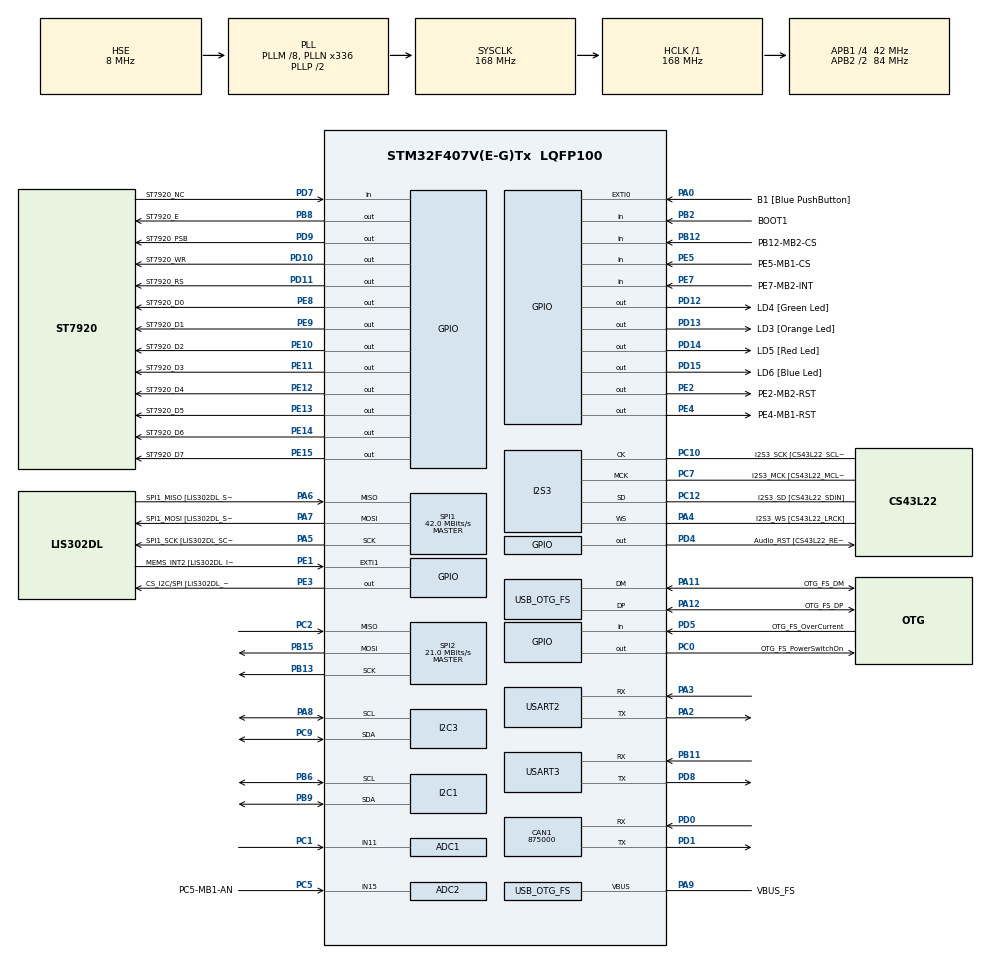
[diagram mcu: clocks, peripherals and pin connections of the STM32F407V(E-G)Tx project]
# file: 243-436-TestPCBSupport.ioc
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ADC1.Channel-0\#ChannelRegularConversion=ADC_CHANNEL_11
ADC1.NbrOfConversionFlag=1
ADC1.Rank-0\#ChannelRegularConversion=1
ADC1.SamplingTime-0\#ChannelRegularConversion=ADC_SAMPLETIME_3CYCLES
ADC1.master=1
ADC2.Channel-0\#ChannelRegularConversion=ADC_CHANNEL_15
ADC2.NbrOfConversionFlag=1
ADC2.Rank-0\#ChannelRegularConversion=1
ADC2.SamplingTime-0\#ChannelRegularConversion=ADC_SAMPLETIME_3CYCLES
CAN1.CalculateBaudRate=875000
CAN1.CalculateTimeBit=1142
CAN1.CalculateTimeQuantum=380.95238095238096
I2S3.AudioFreq-Half_Duplex_Master=I2S_AUDIOFREQ_96K
I2S3.ErrorAudioFreq=-2.34 %
I2S3.ErrorAudioFreq-Half_Duplex_Master=0.8 %
I2S3.FullDuplexMode=I2S_FULLDUPLEXMODE_DISABLE
I2S3.Instance=SPI$Index
I2S3.RealAudioFreq=93.75 KHz
I2S3.RealAudioFreq-Half_Duplex_Master=96.774 KHz
I2S3.VirtualMode=I2S_MODE_MASTER
Mcu.Family=STM32F4
Mcu.Name=STM32F407V(E-G)Tx
Mcu.Package=LQFP100
NVIC.OTG_FS_IRQn=true\:0\:0\:false\:false\:true\:true\:true\:true
NVIC.PriorityGroup=NVIC_PRIORITYGROUP_0
PA0-WKUP.GPIO_Label=B1 [Blue PushButton]
PA0-WKUP.GPIO_ModeDefaultEXTI=GPIO_MODE_EVT_RISING
PA0-WKUP.GPIO_PuPd=GPIO_NOPULL
PA0-WKUP.Signal=GPXTI0
PA1.Signal=S_TIM2_CH2
PA10.GPIO_Label=OTG_FS_ID
PA10.GPIO_Mode=GPIO_MODE_AF_PP
PA10.GPIO_PuPd=GPIO_NOPULL
PA10.GPIO_Speed=GPIO_SPEED_FREQ_LOW
PA10.Signal=USB_OTG_FS_ID
PA11.GPIO_Label=OTG_FS_DM
PA11.GPIO_Mode=GPIO_MODE_AF_PP
PA11.GPIO_PuPd=GPIO_NOPULL
PA11.GPIO_Speed=GPIO_SPEED_FREQ_LOW
PA11.Mode=Host_Only
PA11.Signal=USB_OTG_FS_DM
PA12.GPIO_Label=OTG_FS_DP
PA12.GPIO_Mode=GPIO_MODE_AF_PP
PA12.GPIO_PuPd=GPIO_NOPULL
PA12.GPIO_Speed=GPIO_SPEED_FREQ_LOW
PA12.Mode=Host_Only
PA12.Signal=USB_OTG_FS_DP
PA13.GPIO_Label=SWDIO
PA13.Mode=Serial_Wire
PA13.Signal=SYS_JTMS-SWDIO
PA14.GPIO_Label=SWCLK
PA14.Mode=Serial_Wire
PA14.Signal=SYS_JTCK-SWCLK
PA2.Mode=Asynchronous
PA2.Signal=USART2_TX
PA3.Mode=Asynchronous
PA3.Signal=USART2_RX
PA4.GPIO_Label=I2S3_WS [CS43L22_LRCK]
PA4.GPIO_Mode=GPIO_MODE_AF_PP
PA4.GPIO_PuPd=GPIO_NOPULL
PA4.GPIO_Speed=GPIO_SPEED_FREQ_LOW
PA4.Mode=Half_Duplex_Master
PA4.Signal=I2S3_WS
PA5.GPIO_Label=SPI1_SCK [LIS302DL_SCL/SPC]
PA5.GPIO_Mode=GPIO_MODE_AF_PP
PA5.GPIO_PuPd=GPIO_NOPULL
PA5.GPIO_Speed=GPIO_SPEED_FREQ_LOW
PA5.Mode=Full_Duplex_Master
PA5.Signal=SPI1_SCK
PA6.GPIO_Label=SPI1_MISO [LIS302DL_SDO]
PA6.GPIO_Mode=GPIO_MODE_AF_PP
PA6.GPIO_PuPd=GPIO_NOPULL
PA6.GPIO_Speed=GPIO_SPEED_FREQ_LOW
PA6.Mode=Full_Duplex_Master
PA6.Signal=SPI1_MISO
PA7.GPIO_Label=SPI1_MOSI [LIS302DL_SDA/SDI/SDO]
PA7.GPIO_Mode=GPIO_MODE_AF_PP
PA7.GPIO_PuPd=GPIO_NOPULL
PA7.GPIO_Speed=GPIO_SPEED_FREQ_LOW
PA7.Mode=Full_Duplex_Master
PA7.Signal=SPI1_MOSI
PA8.Mode=I2C
PA8.Signal=I2C3_SCL
PA9.GPIO_Label=VBUS_FS
PA9.GPIO_Mode=GPIO_MODE_INPUT
PA9.GPIO_PuPd=GPIO_NOPULL
PA9.Mode=Activate_VBUS
PA9.Signal=USB_OTG_FS_VBUS
PB10.GPIO_Label=CLK_IN [MP45DT02_CLK]
PB10.GPIO_Mode=GPIO_MODE_AF_PP
PB10.GPIO_PuPd=GPIO_NOPULL
PB10.GPIO_Speed=GPIO_SPEED_FREQ_LOW
PB10.Signal=I2S2_CK
PB11.Mode=Asynchronous
PB11.Signal=USART3_RX
PB12.GPIO_Label=PB12-MB2-CS
PB12.Signal=GPIO_Input
PB13.Mode=Full_Duplex_Master
PB13.Signal=SPI2_SCK
PB15.Mode=Full_Duplex_Master
PB15.Signal=SPI2_MOSI
PB2.GPIO_Label=BOOT1
PB2.GPIO_Mode=GPIO_MODE_INPUT
PB2.GPIO_PuPd=GPIO_NOPULL
PB2.Signal=GPIO_Input
PB3.GPIO_Label=SWO
PB3.Signal=SYS_JTDO-SWO
PB6.Mode=I2C
PB6.Signal=I2C1_SCL
PB8.GPIO_Label=ST7920_E
PB8.GPIO_Speed=GPIO_SPEED_FREQ_HIGH
PB8.Signal=GPIO_Output
PB9.Mode=I2C
PB9.Signal=I2C1_SDA
PC0.GPIO_Label=OTG_FS_PowerSwitchOn
PC0.GPIO_PuPd=GPIO_NOPULL
PC0.GPIO_Speed=GPIO_SPEED_FREQ_LOW
PC0.PinState=GPIO_PIN_SET
PC0.Signal=GPIO_Output
PC1.Signal=ADCx_IN11
PC10.GPIO_Label=I2S3_SCK [CS43L22_SCLK]
PC10.GPIO_Mode=GPIO_MODE_AF_PP
PC10.GPIO_PuPd=GPIO_NOPULL
PC10.GPIO_Speed=GPIO_SPEED_FREQ_LOW
PC10.Mode=Half_Duplex_Master
PC10.Signal=I2S3_CK
PC12.GPIO_Label=I2S3_SD [CS43L22_SDIN]
PC12.GPIO_Mode=GPIO_MODE_AF_PP
PC12.GPIO_PuPd=GPIO_NOPULL
PC12.GPIO_Speed=GPIO_SPEED_FREQ_LOW
PC12.Mode=Half_Duplex_Master
PC12.Signal=I2S3_SD
PC14-OSC32_IN.GPIO_Label=PC14-OSC32_IN
PC14-OSC32_IN.Mode=LSE-External-Oscillator
PC14-OSC32_IN.Signal=RCC_OSC32_IN
PC15-OSC32_OUT.GPIO_Label=PC15-OSC32_OUT
PC15-OSC32_OUT.Mode=LSE-External-Oscillator
PC15-OSC32_OUT.Signal=RCC_OSC32_OUT
PC2.Mode=Full_Duplex_Master
PC2.Signal=SPI2_MISO
PC3.GPIO_Label=PDM_OUT [MP45DT02_DOUT]
PC3.GPIO_Mode=GPIO_MODE_AF_PP
PC3.GPIO_PuPd=GPIO_NOPULL
PC3.GPIO_Speed=GPIO_SPEED_FREQ_LOW
PC3.Signal=I2S2_SD
PC5.GPIO_Label=PC5-MB1-AN
PC5.Signal=ADCx_IN15
PC7.GPIO_Label=I2S3_MCK [CS43L22_MCLK]
PC7.GPIO_Mode=GPIO_MODE_AF_PP
PC7.GPIO_PuPd=GPIO_NOPULL
PC7.GPIO_Speed=GPIO_SPEED_FREQ_LOW
PC7.Mode=Master_Clock_Activated
PC7.Signal=I2S3_MCK
PC9.Mode=I2C
PC9.Signal=I2C3_SDA
PD0.Mode=CAN_Activate
PD0.Signal=CAN1_RX
PD1.Mode=CAN_Activate
PD1.Signal=CAN1_TX
PD10.GPIO_Label=ST7920_WR
PD10.GPIO_Speed=GPIO_SPEED_FREQ_HIGH
PD10.PinState=GPIO_PIN_SET
PD10.Signal=GPIO_Output
PD11.GPIO_Label=ST7920_RS
PD11.GPIO_Speed=GPIO_SPEED_FREQ_HIGH
PD11.Signal=GPIO_Output
PD12.GPIO_Label=LD4 [Green Led]
PD12.GPIO_PuPd=GPIO_NOPULL
PD12.GPIO_Speed=GPIO_SPEED_FREQ_LOW
PD12.Signal=GPIO_Output
PD13.GPIO_Label=LD3 [Orange Led]
PD13.GPIO_PuPd=GPIO_NOPULL
PD13.GPIO_Speed=GPIO_SPEED_FREQ_LOW
PD13.Signal=GPIO_Output
PD14.GPIO_Label=LD5 [Red Led]
PD14.GPIO_PuPd=GPIO_NOPULL
PD14.GPIO_Speed=GPIO_SPEED_FREQ_LOW
PD14.Signal=GPIO_Output
PD15.GPIO_Label=LD6 [Blue Led]
PD15.GPIO_PuPd=GPIO_NOPULL
PD15.GPIO_Speed=GPIO_SPEED_FREQ_LOW
PD15.Signal=GPIO_Output
PD4.GPIO_Label=Audio_RST [CS43L22_RESET]
PD4.GPIO_PuPd=GPIO_NOPULL
PD4.GPIO_Speed=GPIO_SPEED_FREQ_LOW
PD4.Signal=GPIO_Output
PD5.GPIO_Label=OTG_FS_OverCurrent
PD5.GPIO_Mode=GPIO_MODE_INPUT
PD5.GPIO_PuPd=GPIO_NOPULL
PD5.Signal=GPIO_Input
PD7.GPIO_Label=ST7920_NC
PD7.Signal=GPIO_Input
PD8.Mode=Asynchronous
PD8.Signal=USART3_TX
PD9.GPIO_Label=ST7920_PSB
PD9.GPIO_Speed=GPIO_SPEED_FREQ_HIGH
PD9.PinState=GPIO_PIN_SET
PD9.Signal=GPIO_Output
PE1.GPIO_Label=MEMS_INT2 [LIS302DL_INT2]
PE1.GPIO_ModeDefaultEXTI=GPIO_MODE_EVT_RISING
PE1.GPIO_PuPd=GPIO_NOPULL
PE1.Signal=GPXTI1
PE10.GPIO_Label=ST7920_D2
PE10.GPIO_Speed=GPIO_SPEED_FREQ_HIGH
PE10.Signal=GPIO_Output
PE11.GPIO_Label=ST7920_D3
PE11.GPIO_Speed=GPIO_SPEED_FREQ_HIGH
PE11.Signal=GPIO_Output
PE12.GPIO_Label=ST7920_D4
PE12.GPIO_Speed=GPIO_SPEED_FREQ_HIGH
PE12.Signal=GPIO_Output
PE13.GPIO_Label=ST7920_D5
PE13.GPIO_Speed=GPIO_SPEED_FREQ_HIGH
PE13.Signal=GPIO_Output
PE14.GPIO_Label=ST7920_D6
PE14.GPIO_Speed=GPIO_SPEED_FREQ_HIGH
PE14.Signal=GPIO_Output
PE15.GPIO_Label=ST7920_D7
PE15.GPIO_Speed=GPIO_SPEED_FREQ_HIGH
PE15.Signal=GPIO_Output
PE2.GPIO_Label=PE2-MB2-RST
PE2.Signal=GPIO_Output
PE3.GPIO_Label=CS_I2C/SPI [LIS302DL_CS_I2C/SPI]
PE3.GPIO_PuPd=GPIO_NOPULL
PE3.GPIO_Speed=GPIO_SPEED_FREQ_LOW
PE3.Signal=GPIO_Output
PE4.GPIO_Label=PE4-MB1-RST
PE4.Signal=GPIO_Output
PE5.GPIO_Label=PE5-MB1-CS
PE5.Signal=GPIO_Input
PE7.GPIO_Label=PE7-MB2-INT
PE7.Signal=GPIO_Input
PE8.GPIO_Label=ST7920_D0
PE8.GPIO_Speed=GPIO_SPEED_FREQ_HIGH
PE8.Signal=GPIO_Output
PE9.GPIO_Label=ST7920_D1
PE9.GPIO_Speed=GPIO_SPEED_FREQ_HIGH
PE9.Signal=GPIO_Output
PH0-OSC_IN.GPIO_Label=PH0-OSC_IN
PH0-OSC_IN.Mode=HSE-External-Oscillator
PH0-OSC_IN.Signal=RCC_OSC_IN
PH1-OSC_OUT.GPIO_Label=PH1-OSC_OUT
PH1-OSC_OUT.Mode=HSE-External-Oscillator
PH1-OSC_OUT.Signal=RCC_OSC_OUT
ProjectManager.HeapSize=0x200
ProjectManager.StackSize=0x400
ProjectManager.TargetToolchain=CMake
RCC.48MHZClocksFreq_Value=48000000
RCC.AHBFreq_Value=168000000
RCC.APB1CLKDivider=RCC_HCLK_DIV4
RCC.APB1Freq_Value=42000000
RCC.APB1TimFreq_Value=84000000
RCC.APB2CLKDivider=RCC_HCLK_DIV2
RCC.APB2Freq_Value=84000000
RCC.APB2TimFreq_Value=168000000
RCC.CortexFreq_Value=168000000
RCC.HCLKFreq_Value=168000000
RCC.HSE_VALUE=8000000
RCC.HSI_VALUE=16000000
RCC.PLLM=8
RCC.PLLN=336
RCC.PLLQ=7
RCC.SYSCLKFreq_VALUE=168000000
RCC.SYSCLKSource=RCC_SYSCLKSOURCE_PLLCLK
RCC.VCOOutputFreq_Value=336000000
SH.ADCx_IN11.0=ADC1_IN11,IN11
SH.ADCx_IN15.0=ADC2_IN15,IN15
SH.S_TIM2_CH2.0=TIM2_CH2
SPI1.CalculateBaudRate=42.0 MBits/s
SPI1.Direction=SPI_DIRECTION_2LINES
SPI1.Mode=SPI_MODE_MASTER
SPI1.VirtualType=VM_MASTER
SPI2.CalculateBaudRate=21.0 MBits/s
SPI2.Direction=SPI_DIRECTION_2LINES
SPI2.Mode=SPI_MODE_MASTER
SPI2.VirtualType=VM_MASTER
USART2.VirtualMode=VM_ASYNC
USART3.VirtualMode=VM_ASYNC
USB_HOST.BSP.number=1
USB_HOST.USBH_HandleTypeDef-CDC_FS=hUsbHostFS
USB_HOST.VirtualModeFS=Cdc
USB_HOST0.BSP.STBoard=false
USB_HOST0.BSP.api=Unknown
USB_HOST0.BSP.instance=PC0
USB_HOST0.BSP.ip=GPIO
USB_HOST0.BSP.mode=Output
USB_HOST0.BSP.name=Drive_VBUS_FS
USB_HOST0.BSP.solution=PC0
USB_OTG_FS.VirtualMode=Host_Only
USB_OTG_FS.phy_itface=HCD_PHY_EMBEDDED
VP_USB_HOST_VS_USB_HOST_CDC_FS.Mode=CDC_FS
board=STM32F407G-DISC1

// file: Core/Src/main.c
/* USER CODE BEGIN Header */
/**
  ******************************************************************************
  * @file           : main.c
  * @brief          : Main program body
  ******************************************************************************
  * @attention
  *
  * Copyright (c) 2026 STMicroelectronics.
  * All rights reserved.
  *
  * This software is licensed under terms that can be found in the LICENSE file
  * in the root directory of this software component.
  * If no LICENSE file comes with this software, it is provided AS-IS.
  *
  ******************************************************************************
  */
/* USER CODE END Header */
#include "main.h"
#include "usb_host.h"

/* USER CODE BEGIN Includes */
#include <stdio.h>
#include <stdarg.h>
#include "drv82xx.h"
#include "st7920.h"

/* USER CODE END Includes */

ADC_HandleTypeDef hadc1;
ADC_HandleTypeDef hadc2;

CAN_HandleTypeDef hcan1;

I2C_HandleTypeDef hi2c1;
I2C_HandleTypeDef hi2c3;

I2S_HandleTypeDef hi2s3;

SPI_HandleTypeDef hspi1;
SPI_HandleTypeDef hspi2;

UART_HandleTypeDef huart2;
UART_HandleTypeDef huart3;

void SystemClock_Config(void);
static void MX_GPIO_Init(void);
static void MX_I2S3_Init(void);
static void MX_SPI1_Init(void);
static void MX_ADC1_Init(void);
static void MX_ADC2_Init(void);
static void MX_CAN1_Init(void);
static void MX_I2C1_Init(void);
static void MX_I2C3_Init(void);
static void MX_SPI2_Init(void);
static void MX_USART2_UART_Init(void);
static void MX_USART3_UART_Init(void);
void MX_USB_HOST_Process(void);

/* USER CODE BEGIN PFP */
static void I2C_ScanBus(int bus_number);
static int uart2_printf(const char *fmt, ...);

/* USER CODE END PFP */

int main(void)
{

  /* MCU Configuration--------------------------------------------------------*/

  /* Reset of all peripherals, Initializes the Flash interface and the Systick. */
  HAL_Init();

  /* Configure the system clock */
  SystemClock_Config();

  /* Initialize all configured peripherals */
  MX_GPIO_Init();
  MX_I2S3_Init();
  MX_SPI1_Init();
  MX_USB_HOST_Init();
  MX_ADC1_Init();
  MX_ADC2_Init();
  MX_CAN1_Init();
  MX_I2C1_Init();
  MX_I2C3_Init();
  MX_SPI2_Init();
  MX_USART2_UART_Init();
  MX_USART3_UART_Init();
  /* USER CODE BEGIN 2 */

  // Scan I2C bus for devices
  HAL_GPIO_WritePin(GPIOE, PE2_MB2_RST_Pin, GPIO_PIN_SET);
  I2C_ScanBus(1);

  HAL_GPIO_WritePin(GPIOE, PE4_MB1_RST_Pin, GPIO_PIN_SET);
  I2C_ScanBus(3);

  /* Example: drv82xx devices on each bus - replace addresses with actual ones */
  drv82xx_t drv1_bus1 = { .hi2c = &hi2c1, .address = 0x33 };
  drv82xx_t drv2_bus1 = { .hi2c = &hi2c1, .address = 0x32 };
  drv82xx_t drv1_bus3 = { .hi2c = &hi2c3, .address = 0x33 };
  drv82xx_t drv2_bus3 = { .hi2c = &hi2c3, .address = 0x32 };
  /* Initialize and enable example drivers */
  HAL_StatusTypeDef st;

  st = drv82xx_init(&drv1_bus1);
  uart2_printf("drv82xx init @0x%02X: %s (st=%d)\r\n", drv1_bus1.address, (st==HAL_OK)?"OK":"ERR", (int)st);
  if (st == HAL_OK) { drv82xx_set_enable(&drv1_bus1, 1); uart2_printf(" Enabled 0x%02X\r\n", drv1_bus1.address); }

  st = drv82xx_init(&drv2_bus1);
  uart2_printf("drv82xx init @0x%02X: %s (st=%d)\r\n", drv2_bus1.address, (st==HAL_OK)?"OK":"ERR", (int)st);
  if (st == HAL_OK) { drv82xx_set_enable(&drv2_bus1, 1); uart2_printf(" Enabled 0x%02X\r\n", drv2_bus1.address); }

  st = drv82xx_init(&drv1_bus3);
  uart2_printf("drv82xx init @0x%02X: %s (st=%d)\r\n", drv1_bus3.address, (st==HAL_OK)?"OK":"ERR", (int)st);
  if (st == HAL_OK) { drv82xx_set_enable(&drv1_bus3, 1); uart2_printf(" Enabled 0x%02X\r\n", drv1_bus3.address); }

  st = drv82xx_init(&drv2_bus3);
  uart2_printf("drv82xx init @0x%02X: %s (st=%d)\r\n", drv2_bus3.address, (st==HAL_OK)?"OK":"ERR", (int)st);
  if (st == HAL_OK) { drv82xx_set_enable(&drv2_bus3, 1); uart2_printf(" Enabled 0x%02X\r\n", drv2_bus3.address); }

  /* Initialize ST7920 LCD in TEXT mode (2 lines x 16 chars) */
  st7920_init();

  /* Display "Hello ST7920" in text mode (line 0) */
  st7920_set_cursor(0, 0);
  st7920_print("Hello ST7920");
  /* Display "LCD Works!" in line 1 */
  st7920_set_cursor(1, 0);
  st7920_print("LCD Works!");

  HAL_Delay(2000);

  st7920_print_line(0, "STM32F407");
  st7920_print_line(1, "I2C & LCD Demo");

  // --- LCD Graphics Mode Test Routine ---
  st7920_enter_graphics_mode();  // Switch to graphics mode (128x64 pixels)
  st7920_fb_clear();             // Clear framebuffer (all pixels off)
  // Draw a diagonal line from (0,0) to (63,63)
  for (int i = 0; i < 64; ++i) {
    st7920_set_pixel(i, i, 1);  // Set pixel on
  }
  // Draw a rectangle border
  for (int x = 0; x < 128; ++x) {
    st7920_set_pixel(x, 0, 1);
    st7920_set_pixel(x, 63, 1);
  }
  for (int y = 0; y < 64; ++y) {
    st7920_set_pixel(0, y, 1);
    st7920_set_pixel(127, y, 1);
  }
  // Draw text as graphics
  st7920_draw_text8x8(10, 10, "243-436");

  st7920_paint();  // Update display with framebuffer contents
  // --- End LCD Graphics Mode Test ---

  HAL_Delay(2000);

  /* USER CODE END 2 */

  /* Infinite loop */
  /* USER CODE BEGIN WHILE */
  uint32_t counter = 0;
  while (1)
  {
    /* USER CODE END WHILE */
    MX_USB_HOST_Process();

    /* USER CODE BEGIN 3 */

    // // Update LCD with counter every 1 second
    // static uint32_t last_update = 0;
    // if (HAL_GetTick() - last_update >= 1000) {
    //   last_update = HAL_GetTick();
    //   char line0[17];
    //   char line1[17];
    //   snprintf(line0, sizeof(line0), "STM32 Active");
    //   snprintf(line1, sizeof(line1), "Count: %06lu", counter);
    //   st7920_update_display(line0, line1);
    //   counter++;
    // }

    // toggle LEDs to indicate activity
    HAL_GPIO_TogglePin(GPIOD, LD3_Pin|LD4_Pin|LD5_Pin|LD6_Pin);
    HAL_Delay(200);

  }
  /* USER CODE END 3 */
}

void SystemClock_Config(void)
{
  RCC_OscInitTypeDef RCC_OscInitStruct = {0};
  RCC_ClkInitTypeDef RCC_ClkInitStruct = {0};

  /** Configure the main internal regulator output voltage
  */
  __HAL_RCC_PWR_CLK_ENABLE();
  __HAL_PWR_VOLTAGESCALING_CONFIG(PWR_REGULATOR_VOLTAGE_SCALE1);

  /** Initializes the RCC Oscillators according to the specified parameters
  * in the RCC_OscInitTypeDef structure.
  */
  RCC_OscInitStruct.OscillatorType = RCC_OSCILLATORTYPE_HSE;
  RCC_OscInitStruct.HSEState = RCC_HSE_ON;
  RCC_OscInitStruct.PLL.PLLState = RCC_PLL_ON;
  RCC_OscInitStruct.PLL.PLLSource = RCC_PLLSOURCE_HSE;
  RCC_OscInitStruct.PLL.PLLM = 8;
  RCC_OscInitStruct.PLL.PLLN = 336;
  RCC_OscInitStruct.PLL.PLLP = RCC_PLLP_DIV2;
  RCC_OscInitStruct.PLL.PLLQ = 7;
  if (HAL_RCC_OscConfig(&RCC_OscInitStruct) != HAL_OK)
  {
    Error_Handler();
  }

  /** Initializes the CPU, AHB and APB buses clocks
  */
  RCC_ClkInitStruct.ClockType = RCC_CLOCKTYPE_HCLK|RCC_CLOCKTYPE_SYSCLK
                              |RCC_CLOCKTYPE_PCLK1|RCC_CLOCKTYPE_PCLK2;
  RCC_ClkInitStruct.SYSCLKSource = RCC_SYSCLKSOURCE_PLLCLK;
  RCC_ClkInitStruct.AHBCLKDivider = RCC_SYSCLK_DIV1;
  RCC_ClkInitStruct.APB1CLKDivider = RCC_HCLK_DIV4;
  RCC_ClkInitStruct.APB2CLKDivider = RCC_HCLK_DIV2;

  if (HAL_RCC_ClockConfig(&RCC_ClkInitStruct, FLASH_LATENCY_5) != HAL_OK)
  {
    Error_Handler();
  }
}

static void MX_ADC1_Init(void)
{

  ADC_ChannelConfTypeDef sConfig = {0};

  /** Configure the global features of the ADC (Clock, Resolution, Data Alignment and number of conversion)
  */
  hadc1.Instance = ADC1;
  hadc1.Init.ClockPrescaler = ADC_CLOCK_SYNC_PCLK_DIV4;
  hadc1.Init.Resolution = ADC_RESOLUTION_12B;
  hadc1.Init.ScanConvMode = DISABLE;
  hadc1.Init.ContinuousConvMode = DISABLE;
  hadc1.Init.DiscontinuousConvMode = DISABLE;
  hadc1.Init.ExternalTrigConvEdge = ADC_EXTERNALTRIGCONVEDGE_NONE;
  hadc1.Init.ExternalTrigConv = ADC_SOFTWARE_START;
  hadc1.Init.DataAlign = ADC_DATAALIGN_RIGHT;
  hadc1.Init.NbrOfConversion = 1;
  hadc1.Init.DMAContinuousRequests = DISABLE;
  hadc1.Init.EOCSelection = ADC_EOC_SINGLE_CONV;
  if (HAL_ADC_Init(&hadc1) != HAL_OK)
  {
    Error_Handler();
  }

  /** Configure for the selected ADC regular channel its corresponding rank in the sequencer and its sample time.
  */
  sConfig.Channel = ADC_CHANNEL_11;
  sConfig.Rank = 1;
  sConfig.SamplingTime = ADC_SAMPLETIME_3CYCLES;
  if (HAL_ADC_ConfigChannel(&hadc1, &sConfig) != HAL_OK)
  {
    Error_Handler();
  }

}

static void MX_ADC2_Init(void)
{

  ADC_ChannelConfTypeDef sConfig = {0};

  /** Configure the global features of the ADC (Clock, Resolution, Data Alignment and number of conversion)
  */
  hadc2.Instance = ADC2;
  hadc2.Init.ClockPrescaler = ADC_CLOCK_SYNC_PCLK_DIV4;
  hadc2.Init.Resolution = ADC_RESOLUTION_12B;
  hadc2.Init.ScanConvMode = DISABLE;
  hadc2.Init.ContinuousConvMode = DISABLE;
  hadc2.Init.DiscontinuousConvMode = DISABLE;
  hadc2.Init.ExternalTrigConvEdge = ADC_EXTERNALTRIGCONVEDGE_NONE;
  hadc2.Init.ExternalTrigConv = ADC_SOFTWARE_START;
  hadc2.Init.DataAlign = ADC_DATAALIGN_RIGHT;
  hadc2.Init.NbrOfConversion = 1;
  hadc2.Init.DMAContinuousRequests = DISABLE;
  hadc2.Init.EOCSelection = ADC_EOC_SINGLE_CONV;
  if (HAL_ADC_Init(&hadc2) != HAL_OK)
  {
    Error_Handler();
  }

  /** Configure for the selected ADC regular channel its corresponding rank in the sequencer and its sample time.
  */
  sConfig.Channel = ADC_CHANNEL_15;
  sConfig.Rank = 1;
  sConfig.SamplingTime = ADC_SAMPLETIME_3CYCLES;
  if (HAL_ADC_ConfigChannel(&hadc2, &sConfig) != HAL_OK)
  {
    Error_Handler();
  }

}

static void MX_CAN1_Init(void)
{

  hcan1.Instance = CAN1;
  hcan1.Init.Prescaler = 16;
  hcan1.Init.Mode = CAN_MODE_NORMAL;
  hcan1.Init.SyncJumpWidth = CAN_SJW_1TQ;
  hcan1.Init.TimeSeg1 = CAN_BS1_1TQ;
  hcan1.Init.TimeSeg2 = CAN_BS2_1TQ;
  hcan1.Init.TimeTriggeredMode = DISABLE;
  hcan1.Init.AutoBusOff = DISABLE;
  hcan1.Init.AutoWakeUp = DISABLE;
  hcan1.Init.AutoRetransmission = DISABLE;
  hcan1.Init.ReceiveFifoLocked = DISABLE;
  hcan1.Init.TransmitFifoPriority = DISABLE;
  if (HAL_CAN_Init(&hcan1) != HAL_OK)
  {
    Error_Handler();
  }

}

static void MX_I2C1_Init(void)
{

  hi2c1.Instance = I2C1;
  hi2c1.Init.ClockSpeed = 100000;
  hi2c1.Init.DutyCycle = I2C_DUTYCYCLE_2;
  hi2c1.Init.OwnAddress1 = 0;
  hi2c1.Init.AddressingMode = I2C_ADDRESSINGMODE_7BIT;
  hi2c1.Init.DualAddressMode = I2C_DUALADDRESS_DISABLE;
  hi2c1.Init.OwnAddress2 = 0;
  hi2c1.Init.GeneralCallMode = I2C_GENERALCALL_DISABLE;
  hi2c1.Init.NoStretchMode = I2C_NOSTRETCH_DISABLE;
  if (HAL_I2C_Init(&hi2c1) != HAL_OK)
  {
    Error_Handler();
  }

}

static void MX_I2C3_Init(void)
{

  hi2c3.Instance = I2C3;
  hi2c3.Init.ClockSpeed = 100000;
  hi2c3.Init.DutyCycle = I2C_DUTYCYCLE_2;
  hi2c3.Init.OwnAddress1 = 0;
  hi2c3.Init.AddressingMode = I2C_ADDRESSINGMODE_7BIT;
  hi2c3.Init.DualAddressMode = I2C_DUALADDRESS_DISABLE;
  hi2c3.Init.OwnAddress2 = 0;
  hi2c3.Init.GeneralCallMode = I2C_GENERALCALL_DISABLE;
  hi2c3.Init.NoStretchMode = I2C_NOSTRETCH_DISABLE;
  if (HAL_I2C_Init(&hi2c3) != HAL_OK)
  {
    Error_Handler();
  }

}

static void MX_I2S3_Init(void)
{

  hi2s3.Instance = SPI3;
  hi2s3.Init.Mode = I2S_MODE_MASTER_TX;
  hi2s3.Init.Standard = I2S_STANDARD_PHILIPS;
  hi2s3.Init.DataFormat = I2S_DATAFORMAT_16B;
  hi2s3.Init.MCLKOutput = I2S_MCLKOUTPUT_ENABLE;
  hi2s3.Init.AudioFreq = I2S_AUDIOFREQ_96K;
  hi2s3.Init.CPOL = I2S_CPOL_LOW;
  hi2s3.Init.ClockSource = I2S_CLOCK_PLL;
  hi2s3.Init.FullDuplexMode = I2S_FULLDUPLEXMODE_DISABLE;
  if (HAL_I2S_Init(&hi2s3) != HAL_OK)
  {
    Error_Handler();
  }

}

static void MX_SPI1_Init(void)
{

  /* SPI1 parameter configuration*/
  hspi1.Instance = SPI1;
  hspi1.Init.Mode = SPI_MODE_MASTER;
  hspi1.Init.Direction = SPI_DIRECTION_2LINES;
  hspi1.Init.DataSize = SPI_DATASIZE_8BIT;
  hspi1.Init.CLKPolarity = SPI_POLARITY_LOW;
  hspi1.Init.CLKPhase = SPI_PHASE_1EDGE;
  hspi1.Init.NSS = SPI_NSS_SOFT;
  hspi1.Init.BaudRatePrescaler = SPI_BAUDRATEPRESCALER_2;
  hspi1.Init.FirstBit = SPI_FIRSTBIT_MSB;
  hspi1.Init.TIMode = SPI_TIMODE_DISABLE;
  hspi1.Init.CRCCalculation = SPI_CRCCALCULATION_DISABLE;
  hspi1.Init.CRCPolynomial = 10;
  if (HAL_SPI_Init(&hspi1) != HAL_OK)
  {
    Error_Handler();
  }

}

static void MX_SPI2_Init(void)
{

  /* SPI2 parameter configuration*/
  hspi2.Instance = SPI2;
  hspi2.Init.Mode = SPI_MODE_MASTER;
  hspi2.Init.Direction = SPI_DIRECTION_2LINES;
  hspi2.Init.DataSize = SPI_DATASIZE_8BIT;
  hspi2.Init.CLKPolarity = SPI_POLARITY_LOW;
  hspi2.Init.CLKPhase = SPI_PHASE_1EDGE;
  hspi2.Init.NSS = SPI_NSS_SOFT;
  hspi2.Init.BaudRatePrescaler = SPI_BAUDRATEPRESCALER_2;
  hspi2.Init.FirstBit = SPI_FIRSTBIT_MSB;
  hspi2.Init.TIMode = SPI_TIMODE_DISABLE;
  hspi2.Init.CRCCalculation = SPI_CRCCALCULATION_DISABLE;
  hspi2.Init.CRCPolynomial = 10;
  if (HAL_SPI_Init(&hspi2) != HAL_OK)
  {
    Error_Handler();
  }

}

static void MX_USART2_UART_Init(void)
{

  huart2.Instance = USART2;
  huart2.Init.BaudRate = 115200;
  huart2.Init.WordLength = UART_WORDLENGTH_8B;
  huart2.Init.StopBits = UART_STOPBITS_1;
  huart2.Init.Parity = UART_PARITY_NONE;
  huart2.Init.Mode = UART_MODE_TX_RX;
  huart2.Init.HwFlowCtl = UART_HWCONTROL_NONE;
  huart2.Init.OverSampling = UART_OVERSAMPLING_16;
  if (HAL_UART_Init(&huart2) != HAL_OK)
  {
    Error_Handler();
  }

}

static void MX_USART3_UART_Init(void)
{

  huart3.Instance = USART3;
  huart3.Init.BaudRate = 115200;
  huart3.Init.WordLength = UART_WORDLENGTH_8B;
  huart3.Init.StopBits = UART_STOPBITS_1;
  huart3.Init.Parity = UART_PARITY_NONE;
  huart3.Init.Mode = UART_MODE_TX_RX;
  huart3.Init.HwFlowCtl = UART_HWCONTROL_NONE;
  huart3.Init.OverSampling = UART_OVERSAMPLING_16;
  if (HAL_UART_Init(&huart3) != HAL_OK)
  {
    Error_Handler();
  }

}

static void MX_GPIO_Init(void)
{
  GPIO_InitTypeDef GPIO_InitStruct = {0};

  /* GPIO Ports Clock Enable */
  __HAL_RCC_GPIOE_CLK_ENABLE();
  __HAL_RCC_GPIOC_CLK_ENABLE();
  __HAL_RCC_GPIOH_CLK_ENABLE();
  __HAL_RCC_GPIOA_CLK_ENABLE();
  __HAL_RCC_GPIOB_CLK_ENABLE();
  __HAL_RCC_GPIOD_CLK_ENABLE();

  /*Configure GPIO pin Output Level */
  HAL_GPIO_WritePin(GPIOE, PE2_MB2_RST_Pin|CS_I2C_SPI_Pin|PE4_MB1_RST_Pin|ST7920_D0_Pin
                          |ST7920_D1_Pin|ST7920_D2_Pin|ST7920_D3_Pin|ST7920_D4_Pin
                          |ST7920_D5_Pin|ST7920_D6_Pin|ST7920_D7_Pin, GPIO_PIN_RESET);

  /*Configure GPIO pin Output Level */
  HAL_GPIO_WritePin(OTG_FS_PowerSwitchOn_GPIO_Port, OTG_FS_PowerSwitchOn_Pin, GPIO_PIN_SET);

  /*Configure GPIO pin Output Level */
  HAL_GPIO_WritePin(GPIOD, ST7920_PSB_Pin|ST7920_WR_Pin, GPIO_PIN_SET);

  /*Configure GPIO pin Output Level */
  HAL_GPIO_WritePin(GPIOD, ST7920_RS_Pin|LD4_Pin|LD3_Pin|LD5_Pin
                          |LD6_Pin|Audio_RST_Pin, GPIO_PIN_RESET);

  /*Configure GPIO pin Output Level */
  HAL_GPIO_WritePin(ST7920_E_GPIO_Port, ST7920_E_Pin, GPIO_PIN_RESET);

  /*Configure GPIO pins : PE2_MB2_RST_Pin CS_I2C_SPI_Pin PE4_MB1_RST_Pin */
  GPIO_InitStruct.Pin = PE2_MB2_RST_Pin|CS_I2C_SPI_Pin|PE4_MB1_RST_Pin;
  GPIO_InitStruct.Mode = GPIO_MODE_OUTPUT_PP;
  GPIO_InitStruct.Pull = GPIO_NOPULL;
  GPIO_InitStruct.Speed = GPIO_SPEED_FREQ_LOW;
  HAL_GPIO_Init(GPIOE, &GPIO_InitStruct);

  /*Configure GPIO pins : PE5_MB1_CS_Pin PE7_MB2_INT_Pin */
  GPIO_InitStruct.Pin = PE5_MB1_CS_Pin|PE7_MB2_INT_Pin;
  GPIO_InitStruct.Mode = GPIO_MODE_INPUT;
  GPIO_InitStruct.Pull = GPIO_NOPULL;
  HAL_GPIO_Init(GPIOE, &GPIO_InitStruct);

  /*Configure GPIO pin : OTG_FS_PowerSwitchOn_Pin */
  GPIO_InitStruct.Pin = OTG_FS_PowerSwitchOn_Pin;
  GPIO_InitStruct.Mode = GPIO_MODE_OUTPUT_PP;
  GPIO_InitStruct.Pull = GPIO_NOPULL;
  GPIO_InitStruct.Speed = GPIO_SPEED_FREQ_LOW;
  HAL_GPIO_Init(OTG_FS_PowerSwitchOn_GPIO_Port, &GPIO_InitStruct);

  /*Configure GPIO pin : PDM_OUT_Pin */
  GPIO_InitStruct.Pin = PDM_OUT_Pin;
  GPIO_InitStruct.Mode = GPIO_MODE_AF_PP;
  GPIO_InitStruct.Pull = GPIO_NOPULL;
  GPIO_InitStruct.Speed = GPIO_SPEED_FREQ_LOW;
  GPIO_InitStruct.Alternate = GPIO_AF5_SPI2;
  HAL_GPIO_Init(PDM_OUT_GPIO_Port, &GPIO_InitStruct);

  /*Configure GPIO pin : B1_Pin */
  GPIO_InitStruct.Pin = B1_Pin;
  GPIO_InitStruct.Mode = GPIO_MODE_EVT_RISING;
  GPIO_InitStruct.Pull = GPIO_NOPULL;
  HAL_GPIO_Init(B1_GPIO_Port, &GPIO_InitStruct);

  /*Configure GPIO pin : PA1 */
  GPIO_InitStruct.Pin = GPIO_PIN_1;
  GPIO_InitStruct.Mode = GPIO_MODE_AF_PP;
  GPIO_InitStruct.Pull = GPIO_NOPULL;
  GPIO_InitStruct.Speed = GPIO_SPEED_FREQ_LOW;
  GPIO_InitStruct.Alternate = GPIO_AF1_TIM2;
  HAL_GPIO_Init(GPIOA, &GPIO_InitStruct);

  /*Configure GPIO pins : BOOT1_Pin PB12_MB2_CS_Pin */
  GPIO_InitStruct.Pin = BOOT1_Pin|PB12_MB2_CS_Pin;
  GPIO_InitStruct.Mode = GPIO_MODE_INPUT;
  GPIO_InitStruct.Pull = GPIO_NOPULL;
  HAL_GPIO_Init(GPIOB, &GPIO_InitStruct);

  /*Configure GPIO pins : ST7920_D0_Pin ST7920_D1_Pin ST7920_D2_Pin ST7920_D3_Pin
                           ST7920_D4_Pin ST7920_D5_Pin ST7920_D6_Pin ST7920_D7_Pin */
  GPIO_InitStruct.Pin = ST7920_D0_Pin|ST7920_D1_Pin|ST7920_D2_Pin|ST7920_D3_Pin
                          |ST7920_D4_Pin|ST7920_D5_Pin|ST7920_D6_Pin|ST7920_D7_Pin;
  GPIO_InitStruct.Mode = GPIO_MODE_OUTPUT_PP;
  GPIO_InitStruct.Pull = GPIO_NOPULL;
  GPIO_InitStruct.Speed = GPIO_SPEED_FREQ_VERY_HIGH;
  HAL_GPIO_Init(GPIOE, &GPIO_InitStruct);

  /*Configure GPIO pin : CLK_IN_Pin */
  GPIO_InitStruct.Pin = CLK_IN_Pin;
  GPIO_InitStruct.Mode = GPIO_MODE_AF_PP;
  GPIO_InitStruct.Pull = GPIO_NOPULL;
  GPIO_InitStruct.Speed = GPIO_SPEED_FREQ_LOW;
  GPIO_InitStruct.Alternate = GPIO_AF5_SPI2;
  HAL_GPIO_Init(CLK_IN_GPIO_Port, &GPIO_InitStruct);

  /*Configure GPIO pins : ST7920_PSB_Pin ST7920_WR_Pin ST7920_RS_Pin */
  GPIO_InitStruct.Pin = ST7920_PSB_Pin|ST7920_WR_Pin|ST7920_RS_Pin;
  GPIO_InitStruct.Mode = GPIO_MODE_OUTPUT_PP;
  GPIO_InitStruct.Pull = GPIO_NOPULL;
  GPIO_InitStruct.Speed = GPIO_SPEED_FREQ_VERY_HIGH;
  HAL_GPIO_Init(GPIOD, &GPIO_InitStruct);

  /*Configure GPIO pins : LD4_Pin LD3_Pin LD5_Pin LD6_Pin
                           Audio_RST_Pin */
  GPIO_InitStruct.Pin = LD4_Pin|LD3_Pin|LD5_Pin|LD6_Pin
                          |Audio_RST_Pin;
  GPIO_InitStruct.Mode = GPIO_MODE_OUTPUT_PP;
  GPIO_InitStruct.Pull = GPIO_NOPULL;
  GPIO_InitStruct.Speed = GPIO_SPEED_FREQ_LOW;
  HAL_GPIO_Init(GPIOD, &GPIO_InitStruct);

  /*Configure GPIO pins : OTG_FS_OverCurrent_Pin ST7920_NC_Pin */
  GPIO_InitStruct.Pin = OTG_FS_OverCurrent_Pin|ST7920_NC_Pin;
  GPIO_InitStruct.Mode = GPIO_MODE_INPUT;
  GPIO_InitStruct.Pull = GPIO_NOPULL;
  HAL_GPIO_Init(GPIOD, &GPIO_InitStruct);

  /*Configure GPIO pin : ST7920_E_Pin */
  GPIO_InitStruct.Pin = ST7920_E_Pin;
  GPIO_InitStruct.Mode = GPIO_MODE_OUTPUT_PP;
  GPIO_InitStruct.Pull = GPIO_NOPULL;
  GPIO_InitStruct.Speed = GPIO_SPEED_FREQ_VERY_HIGH;
  HAL_GPIO_Init(ST7920_E_GPIO_Port, &GPIO_InitStruct);

  /*Configure GPIO pin : MEMS_INT2_Pin */
  GPIO_InitStruct.Pin = MEMS_INT2_Pin;
  GPIO_InitStruct.Mode = GPIO_MODE_EVT_RISING;
  GPIO_InitStruct.Pull = GPIO_NOPULL;
  HAL_GPIO_Init(MEMS_INT2_GPIO_Port, &GPIO_InitStruct);

}

/* USER CODE BEGIN 4 */

/* Helper: formatted print to UART2 */
static int uart2_printf(const char *fmt, ...)
{
  char buf[160];
  va_list ap;
  va_start(ap, fmt);
  int len = vsnprintf(buf, sizeof(buf), fmt, ap);
  va_end(ap);
  if (len > 0)
  {
    if (len > (int)sizeof(buf) - 1) len = sizeof(buf) - 1;
    HAL_UART_Transmit(&huart2, (uint8_t *)buf, (uint16_t)len, 1000);
  }
  return len;
}

/**
  * @brief Scans I2C1 bus for devices and reports results on UART2
  * @param None
  * @retval None
  */
static void I2C_ScanBus(int bus_number)
{
  uint8_t address;
  uint16_t devices_found = 0;

  uart2_printf("\r\n========================================\r\n");
  uart2_printf("I2C%d Bus Scan\r\n", bus_number);
  uart2_printf("========================================\r\n");
  uart2_printf("Scanning addresses 0x08 to 0x77...\r\n");

  for (address = 0x08; address <= 0x77; address++)
  {
    if(bus_number==1)
    {
      if (HAL_I2C_IsDeviceReady(&hi2c1, (uint16_t)(address << 1), 1, 10) == HAL_OK)
      {
        uart2_printf("  Device found at address: 0x%02X\r\n", address);
        devices_found++;
      }
    }
    else if(bus_number==3)
    {
      if (HAL_I2C_IsDeviceReady(&hi2c3, (uint16_t)(address << 1), 1, 10) == HAL_OK)
      {
        uart2_printf("  Device found at address: 0x%02X\r\n", address);
        devices_found++;
      }
    }
    else
    {
      uart2_printf("Invalid bus number: %d\r\n", bus_number);
      uart2_printf("Valid is: 1 or 3\r\n");
      return;
    }
    HAL_Delay(1);
  }
  uart2_printf("Total devices found: %u\r\n", devices_found);
  uart2_printf("========================================\r\n");

  if (devices_found == 0)
  {
    uart2_printf("No I2C devices detected on I2C%d bus.\r\n", bus_number);
    uart2_printf("Check:\r\n");
    uart2_printf("  - Pull-up resistors are present\r\n");
    uart2_printf("  - Devices are powered\r\n");
    uart2_printf("  - I2C bus connections\r\n\r\n");
  }
}

/* USER CODE END 4 */

void Error_Handler(void)
{
  __disable_irq();
  while (1)
  {
  }
}
